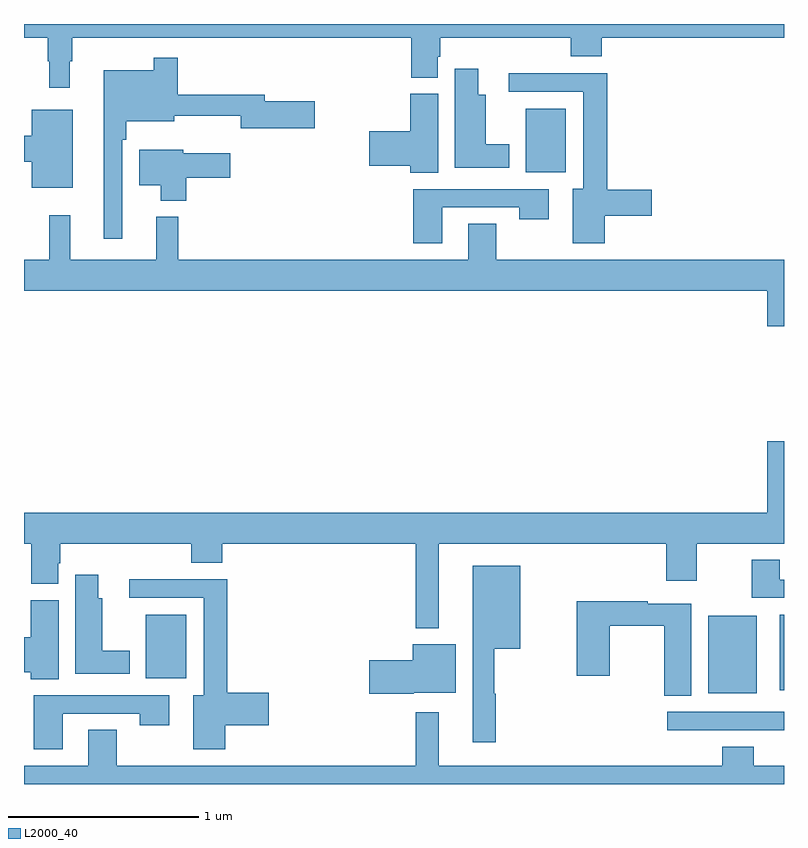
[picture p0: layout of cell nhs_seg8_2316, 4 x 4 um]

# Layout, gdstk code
import gdstk
lib = gdstk.Library(unit=1e-6, precision=1e-09)
def R(c, l, rs):  # rectangles x0, y0, x1, y1
    for r in rs: c.add(gdstk.rectangle(r[:2], r[2:], *l))
def P(c, l, *ps):  # polygons
    for p in ps: c.add(gdstk.Polygon(p, *l))
L2000_40 = (2000, 40)

nhs_seg8_2316 = lib.new_cell('nhs_seg8_2316')
R(nhs_seg8_2316, L2000_40, [(260.385,1118.184,261,1118.28), (260.6,1118.378,260.857,1118.785), (260.978,1118.393,261,1118.791), (257.642,1118.456,257.854,1118.791), (259.64,1121.12,259.852,1121.455)])
P(nhs_seg8_2316, L2000_40, [(257,1121.828),(257.125,1121.828),(257.125,1121.705),(257.133,1121.705),(257.133,1121.565),(257.242,1121.565),(257.242,1121.705),(257.254,1121.705),(257.254,1121.828),(259.037,1121.828),(259.037,1121.617),(259.177,1121.617),(259.177,1121.727),(259.19,1121.727),(259.19,1121.828),(259.877,1121.828),(259.877,1121.729),(260.041,1121.729),(260.041,1121.828),(261,1121.828),(261,1121.9),(257,1121.9)],
  [(257.517,1121.291),(257.537,1121.291),(257.537,1121.387),(257.791,1121.387),(257.791,1121.417),(258.14,1121.417),(258.14,1121.351),(258.529,1121.351),(258.529,1121.493),(258.268,1121.493),(258.268,1121.527),(257.81,1121.527),(257.81,1121.722),(257.682,1121.722),(257.682,1121.656),(257.42,1121.656),(257.42,1120.77),(257.517,1120.77)],
  [(259.555,1121.266),(259.429,1121.266),(259.429,1121.527),(259.39,1121.527),(259.39,1121.665),(259.268,1121.665),(259.268,1121.144),(259.555,1121.144)],
  [(260.056,1120.892),(260.305,1120.892),(260.305,1121.027),(260.069,1121.027),(260.069,1121.642),(259.551,1121.642),(259.551,1121.544),(259.943,1121.544),(259.943,1121.032),(259.889,1121.032),(259.889,1120.746),(260.056,1120.746)],
  [(259.18,1121.532),(259.034,1121.532),(259.034,1121.336),(258.816,1121.336),(258.816,1121.153),(259.034,1121.153),(259.034,1121.116),(259.18,1121.116)],
  [(257.257,1121.449),(257.042,1121.449),(257.042,1121.312),(257,1121.312),(257,1121.176),(257.042,1121.176),(257.042,1121.039),(257.257,1121.039)],
  [(257.855,1121.092),(258.085,1121.092),(258.085,1121.221),(257.838,1121.221),(257.838,1121.239),(257.606,1121.239),(257.606,1121.051),(257.72,1121.051),(257.72,1120.97),(257.855,1120.97)],
  [(259.201,1120.935),(259.606,1120.935),(259.606,1120.872),(259.762,1120.872),(259.762,1121.031),(259.049,1121.031),(259.049,1120.746),(259.201,1120.746)],
  [(261,1120.66),(259.485,1120.66),(259.485,1120.85),(259.337,1120.85),(259.337,1120.66),(257.813,1120.66),(257.813,1120.885),(257.696,1120.885),(257.696,1120.66),(257.243,1120.66),(257.243,1120.894),(257.133,1120.894),(257.133,1120.66),(257,1120.66),(257,1120.496),(260.912,1120.496),(260.912,1120.308),(261,1120.308)],
  [(259.183,1119.164),(260.381,1119.164),(260.381,1118.97),(260.541,1118.97),(260.541,1119.164),(261,1119.164),(261,1119.703),(260.912,1119.703),(260.912,1119.328),(257,1119.328),(257,1119.164),(257.039,1119.164),(257.039,1118.953),(257.179,1118.953),(257.179,1119.063),(257.192,1119.063),(257.192,1119.164),(257.879,1119.164),(257.879,1119.065),(258.044,1119.065),(258.044,1119.164),(259.062,1119.164),(259.062,1118.72),(259.183,1118.72)],
  [(261,1118.976),(260.977,1118.976),(260.977,1119.079),(260.83,1119.079),(260.83,1118.88),(261,1118.88)],
  [(259.483,1118.375),(259.475,1118.375),(259.475,1118.612),(259.612,1118.612),(259.612,1119.049),(259.361,1119.049),(259.361,1118.121),(259.483,1118.121)],
  [(257.557,1118.602),(257.413,1118.602),(257.413,1118.877),(257.392,1118.877),(257.392,1119.001),(257.27,1119.001),(257.27,1118.48),(257.557,1118.48)],
  [(258.058,1118.21),(258.289,1118.21),(258.289,1118.381),(258.071,1118.381),(258.071,1118.978),(257.553,1118.978),(257.553,1118.88),(257.945,1118.88),(257.945,1118.368),(257.891,1118.368),(257.891,1118.082),(258.058,1118.082)],
  [(257.182,1118.868),(257.036,1118.868),(257.036,1118.672),(257,1118.672),(257,1118.489),(257.036,1118.489),(257.036,1118.452),(257.182,1118.452)],
  [(260.512,1118.85),(260.282,1118.85),(260.282,1118.863),(259.909,1118.863),(259.909,1118.469),(260.082,1118.469),(260.082,1118.734),(260.371,1118.734),(260.371,1118.365),(260.512,1118.365)],
  [(259.05,1118.381),(259.273,1118.381),(259.273,1118.635),(259.046,1118.635),(259.046,1118.552),(258.816,1118.552),(258.816,1118.374),(259.05,1118.374)],
  [(257.203,1118.271),(257.608,1118.271),(257.608,1118.208),(257.764,1118.208),(257.764,1118.367),(257.051,1118.367),(257.051,1118.082),(257.203,1118.082)],
  [(261,1117.996),(260.84,1117.996),(260.84,1118.095),(260.675,1118.095),(260.675,1117.996),(259.183,1117.996),(259.183,1118.278),(259.062,1118.278),(259.062,1117.996),(257.487,1117.996),(257.487,1118.186),(257.339,1118.186),(257.339,1117.996),(257,1117.996),(257,1117.9),(261,1117.9)])

lib.write_gds('nhs_seg8_2316.gds')
